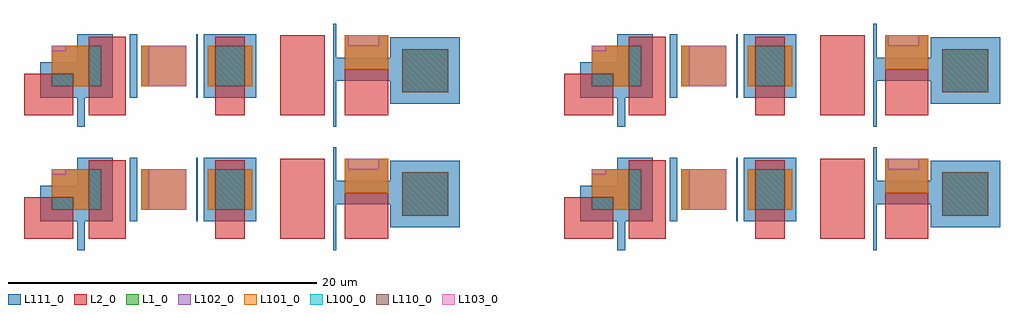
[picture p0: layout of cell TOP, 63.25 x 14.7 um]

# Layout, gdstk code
import gdstk
lib = gdstk.Library(unit=1e-6, precision=1e-09)
def R(c, l, rs):  # rectangles x0, y0, x1, y1
    for r in rs: c.add(gdstk.rectangle(r[:2], r[2:], *l))
def P(c, l, *ps):  # polygons
    for p in ps: c.add(gdstk.Polygon(p, *l))
L1_0 = (1, 0)
L2_0 = (2, 0)
L100_0 = (100, 0)
L101_0 = (101, 0)
L102_0 = (102, 0)
L103_0 = (103, 0)
L110_0 = (110, 0)
L111_0 = (111, 0)

child1 = lib.new_cell('CHILD1')
R(child1, L1_0, [(22.7,0,25.7,2.8), (0,0.4,3.2,3), (5.8,0.4,8.7,3), (10.1,0.4,13,3), (19,1.5,21.8,3.7)])
R(child1, L100_0, [(22.7,0,25.7,2.8), (0,0.4,1.4,1.2), (2.4,0.4,3.2,3), (10.6,0.4,12.5,3)])
R(child1, L101_0, [(5.8,0.4,8.7,3), (10.1,0.4,10.6,3), (12.5,0.4,13,3), (19,1.5,21.8,3.7)])
P(child1, L101_0, [(1.4,0.4),(1.4,1.2),(0,1.2),(0,3),(2.4,3),(2.4,0.4)])
R(child1, L102_0, [(22.7,0,25.7,2.8), (5.8,0.4,6.3,3), (10.1,0.4,13,3)])
P(child1, L102_0, [(19,1.5),(19,3.7),(19.2,3.7),(19.2,3),(21.2,3),(21.2,3.7),(21.8,3.7),(21.8,1.5)],
  [(0,0.4),(0,2.7),(0.9,2.7),(0.9,3),(3.2,3),(3.2,0.4)])
R(child1, L103_0, [(6.3,0.4,8.7,3), (0,2.7,0.9,3), (19.2,3,21.2,3.7)])
R(child1, L110_0, [(22.7,0,25.7,2.8), (0,0.4,1.4,1.2), (2.4,0.4,3.2,3), (10.6,0.4,12.5,3)])
R(child1, L111_0, [(5.05,-0.35,5.55,3.75), (9.35,-0.35,9.45,3.75), (9.85,-0.35,13.25,3.75)])
P(child1, L111_0, [(18.25,-2.25),(18.25,4.45),(18.45,4.45),(18.45,2.25),(21.95,2.25),(21.95,3.55),(26.45,3.55),(26.45,-0.75),(21.95,-0.75),(21.95,0.75),(18.45,0.75),(18.45,-2.25)],
  [(1.65,-2.25),(1.65,-0.35),(-0.75,-0.35),(-0.75,1.95),(1.65,1.95),(1.65,3.75),(3.95,3.75),(3.95,-0.35),(2.15,-0.35),(2.15,-2.25)])

cover = lib.new_cell('COVER')
R(cover, L2_0, [(0,0,3.2,2.7), (4.2,0,6.6,5.1), (12.4,0,14.3,5.1), (16.6,0,19.5,5.2), (20.8,0,23.6,3), (24.5,1.5,27.5,4.3)])
R(cover, L111_0, [(3.45,-0.75,3.95,3.45), (20.05,-0.75,20.25,3.75), (23.75,0.75,24.35,3.75)])

top = lib.new_cell('TOP')
R(top, L2_0, [(0,0,3.2,2.7), (4.2,0,6.6,5.1), (12.4,0,14.3,5.1), (16.6,0,19.5,5.2), (20.8,0,23.6,3), (24.5,1.5,27.5,4.3), (0,8,3.2,10.7), (4.2,8,6.6,13.1), (12.4,8,14.3,13.1), (16.6,8,19.5,13.2), (20.8,8,23.6,11), (24.5,9.5,27.5,12.3)])
R(top, L111_0, [(3.45,-0.75,3.95,3.45), (20.05,-0.75,20.25,3.75), (23.75,0.75,24.35,3.75), (3.45,7.25,3.95,11.45), (20.05,7.25,20.25,11.75), (23.75,8.75,24.35,11.75)])
top.add(gdstk.Reference(child1, (1.8,1.5)))
top.add(gdstk.Reference(child1, (36.8,1.5)))
top.add(gdstk.Reference(child1, (1.8,9.5)))
top.add(gdstk.Reference(child1, (36.8,9.5)))
top.add(gdstk.Reference(cover, (35,0)))
top.add(gdstk.Reference(cover, (35,8)))

lib.write_gds('TOP.gds')
